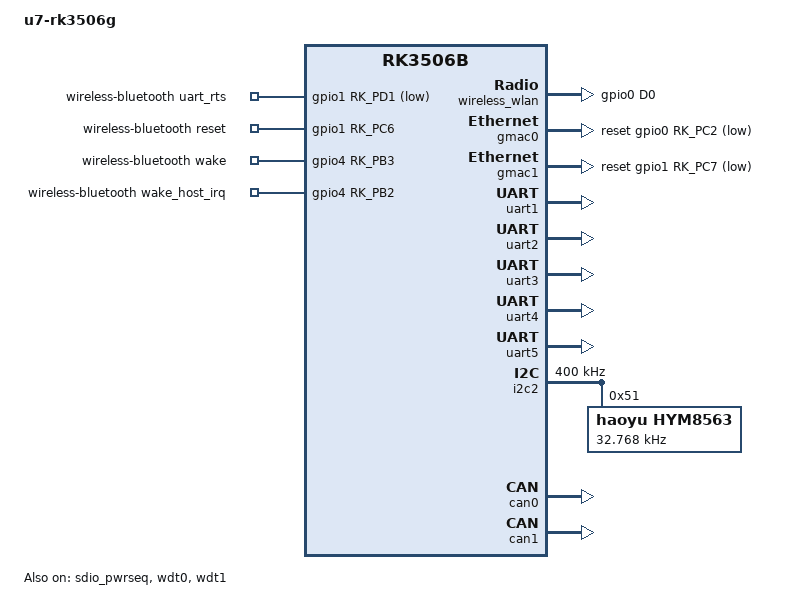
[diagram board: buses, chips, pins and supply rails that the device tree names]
// SPDX-License-Identifier: (GPL-2.0+ OR MIT)
/*
 * Copyright (c) 2024 Rockchip Electronics Co., Ltd.
 */

/dts-v1/;
#include <dt-bindings/gpio/nca9555-gpio.h>

#include "rp-rk3506b-board.dtsi"

#include "rp-adc.dtsi"

#include "rp-usb2.0-otg0-typeA.dtsi"
#include "rp-usb2.0-host1-typeA.dtsi"

#include "rp-audio-es8311.dtsi"
#include "rp-audio-acode.dtsi"

#include "rp-gmac0-100m.dtsi"
#include "rp-gmac1-100m.dtsi"
#include "rp-wifibt-sdmmc.dtsi"

#include "rp-lcd-mipi-7-1024-600.dtsi"

/ {
    model = "u7-rk3506g";
	
    rp_power {
        status = "okay";
        compatible = "rp_power";
        rp_not_deep_sleep = <1>;

//#define GPIO_FUNCTION_OUTPUT 0
//#define GPIO_FUNCTION_INPUT 1
//#define GPIO_FUNCTION_IRQ 2
//#define GPIO_FUNCTION_FLASH 3
//#define GPIO_FUNCTION_OUTPUT_CTRL 4
        vdd_otg0 {     
            gpio_num = <&gpio1 RK_PC4 GPIO_ACTIVE_HIGH>;
            gpio_function = <4>;
        };
        
        vdd_otg1 {     
            gpio_num = <&gpio1 RK_PD0 GPIO_ACTIVE_HIGH>;
            gpio_function = <4>;
        };
    };
 
    rp_gpio {
        status = "okay";
        compatible = "rp_gpio";
        
        gpio1a6 {     
            gpio_num = <&gpio1 RK_PA6 GPIO_ACTIVE_HIGH>;
            gpio_function = <0>;
        };
        
        gpio1a7 {     
            gpio_num = <&gpio1 RK_PA7 GPIO_ACTIVE_HIGH>;
            gpio_function = <0>;
        };
        
        gpio1a3 {     
            gpio_num = <&gpio1 RK_PA3 GPIO_ACTIVE_HIGH>;
            gpio_function = <0>;
        };
        
        gpio1b0 {     
            gpio_num = <&gpio1 RK_PB0 GPIO_ACTIVE_HIGH>;
            gpio_function = <0>;
        };
        
        gpio0b5 {     
            gpio_num = <&gpio0 RK_PB5 GPIO_ACTIVE_HIGH>;
            gpio_function = <0>;
        };
        
        gpio1b4 {     
            gpio_num = <&gpio1 RK_PB4 GPIO_ACTIVE_HIGH>;
            gpio_function = <0>;
        };
        
        gpio1b5 {     
            gpio_num = <&gpio1 RK_PB5 GPIO_ACTIVE_HIGH>;
            gpio_function = <0>;
        };
        
        gpio1b6 {     
            gpio_num = <&gpio1 RK_PB6 GPIO_ACTIVE_HIGH>;
            gpio_function = <0>;
        };
        
        gpio1b7 {     
            gpio_num = <&gpio1 RK_PB7 GPIO_ACTIVE_HIGH>;
            gpio_function = <0>;
        };
        
        gpio1c0 {     
            gpio_num = <&gpio1 RK_PC0 GPIO_ACTIVE_HIGH>;
            gpio_function = <0>;
        };
        
        gpio1c1 {     
            gpio_num = <&gpio1 RK_PC1 GPIO_ACTIVE_HIGH>;
            gpio_function = <0>;
        };
    };
    
    wireless-bluetooth {
        compatible = "bluetooth-platdata";
        uart_rts_gpios = <&gpio1 RK_PD1 GPIO_ACTIVE_LOW>;
        pinctrl-names = "default", "rts_gpio";
        pinctrl-0 = <&uart5m1_rtsn_pins>;
        pinctrl-1 = <&uart5_gpios>;
        BT,reset_gpio = <&gpio1 RK_PC6 GPIO_ACTIVE_HIGH>;
        BT,wake_gpio = <&gpio4 RK_PB3 GPIO_ACTIVE_HIGH>;
        BT,wake_host_irq = <&gpio4 RK_PB2 GPIO_ACTIVE_HIGH>;
        status = "okay";
    };
};

&sdio_pwrseq{
    status = "okay";
    compatible = "mmc-pwrseq-simple";
    pinctrl-names = "default";
    pinctrl-0 = <&wifi_poweren_gpio>;
    /*
     * On the module itself this is one of these (depending
     * on the actual card populated):
     * - SDIO_RESET_L_WL_REG_ON
     * - PDN (power down when low)
     */
    post-power-on-delay-ms = <300>;
    reset-gpios = <&gpio1 RK_PC5 GPIO_ACTIVE_LOW>;   
};

&wireless_wlan{
    status = "okay";
    clocks = <&hym8563>;
    clock-names = "ext_clock";
    pinctrl-0 = <&wifi_host_wake_irq>;
    WIFI,host_wake_irq = <&gpio0 RK_PD0 GPIO_ACTIVE_HIGH>;
    /delete-property/ WIFI,poweren_gpio;
    // WIFI,poweren_gpio = <&gpio1 RK_PC5 GPIO_ACTIVE_HIGH>;
};

&dsi_panel {
    reset-gpios = <&gpio1 RK_PA5 GPIO_ACTIVE_LOW>;
    enable-gpios = <&gpio0 RK_PA1 GPIO_ACTIVE_HIGH>;
};

&gmac0 {
    status = "okay";
    snps,reset-gpio = <&gpio0 RK_PC2 GPIO_ACTIVE_LOW>;
    snps,reset-active-low;
    /* Reset time is 20ms, 100ms for rtl8211f */
    snps,reset-delays-us = <0 10000 100000>;	
};

&gmac1 {
    snps,reset-gpio = <&gpio1 RK_PC7 GPIO_ACTIVE_LOW>; 
    snps,reset-active-low;
    /* Reset time is 20ms, 100ms for rtl8211f */
    snps,reset-delays-us = <0 20000 100000>;
};

&wdt0 {
    status = "okay";
};

&wdt1 {
    status = "okay";
};

// TTL
&uart1 {
    status = "okay";
    pinctrl-names = "default";
    pinctrl-0 = <&rm_io17_uart1_tx &rm_io16_uart1_rx>;	
};

// RS-232
&uart2 {
    status = "okay";
    pinctrl-names = "default";
    pinctrl-0 = <&rm_io2_uart2_tx &rm_io0_uart2_rx>;      
};

// RS-485
&uart3 {
    status = "okay";
    pinctrl-names = "default";
    pinctrl-0 = <&rm_io14_uart3_tx &rm_io15_uart3_rx>;
};

// RS-485
&uart4 {
    status = "okay";
    pinctrl-names = "default";
    pinctrl-0 = <&rm_io28_uart4_tx &rm_io27_uart4_rx>;	    
};

// to BT
&uart5 {
    pinctrl-names = "default";
    pinctrl-0 = <&uart5m1_xfer_pins &uart5m1_ctsn_pins>;
    status = "okay";
};

&i2c2 {
    status = "okay";
    clock-frequency = <400000>;
    pinctrl-names = "default";
    pinctrl-0 = <&rm_io4_i2c2_scl &rm_io5_i2c2_sda>;
   
    hym8563: hym8563@51 {
        compatible = "haoyu,hym8563";
        reg = <0x51>;
        #clock-cells = <0>;
        clock-frequency = <32768>;
        clock-output-names = "hym8563-32k";
    };
};

&can0 {
    status = "okay";
    assigned-clocks = <&cru CLK_CAN0>;
    assigned-clock-rates = <200000000>;
    pinctrl-names = "default";
    pinctrl-0 = <&rm_io19_can0_tx &rm_io20_can0_rx>;
};

&can1 {
    status = "okay";
    assigned-clocks = <&cru CLK_CAN1>;
    assigned-clock-rates = <200000000>;  
    pinctrl-names = "default";
    pinctrl-0 = <&rm_io25_can1_tx &rm_io26_can1_rx>;
};

&goodix_ts{   
    goodix_rst_gpio = <&gpio1 RK_PA1 GPIO_ACTIVE_HIGH>;
    goodix_irq_gpio = <&gpio1 RK_PA0 IRQ_TYPE_EDGE_FALLING>;
    buzzer_gpio = <&gpio1 RK_PA2 GPIO_ACTIVE_LOW>; // 蜂鸣器IO
};

&pinctrl {
    wireless-wlan {
        wifi_host_wake_irq: wifi-host-wake-irq {
            rockchip,pins = <0 RK_PD0 RK_FUNC_GPIO &pcfg_pull_none>;
        };    
        wifi_poweren_gpio: wifi-poweren-gpio {
            rockchip,pins = <1 RK_PC5 RK_FUNC_GPIO &pcfg_pull_none>;
        };
    };
    
    wireless-bluetooth {
        uart5_gpios: uart5-gpios {
            rockchip,pins = <1 RK_PC6 RK_FUNC_GPIO &pcfg_pull_none>, 
                            <4 RK_PB2 RK_FUNC_GPIO &pcfg_pull_none>,
                            <4 RK_PB3 RK_FUNC_GPIO &pcfg_pull_none>;
        };
    };
};
